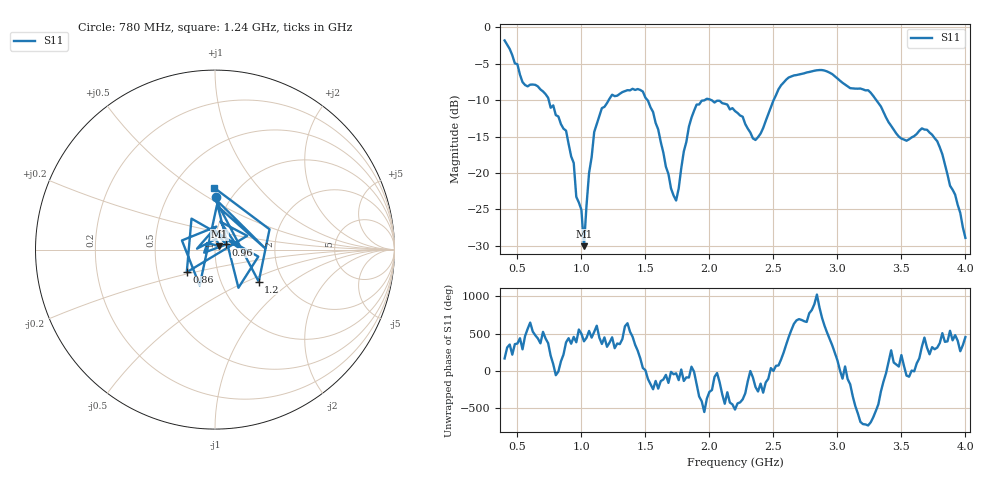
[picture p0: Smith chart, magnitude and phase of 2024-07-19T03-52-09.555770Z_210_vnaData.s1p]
!Created with skrf (http://scikit-rf.org).
# Hz S RI R 50.0
!freq ReS11 ImS11
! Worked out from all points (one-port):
!   181 points, 400 MHz to 4 GHz, reference 50 ohm
!   lowest |S11| = -30.1 dB at 1.02 GHz (marker M1), VSWR 1.06, Z = 52.5 + j2 ohm
!   |S11| at or under -10 dB: 744.9 MHz to 1.213 GHz (468.1 MHz wide, 47.8 % of centre); 2.016 GHz to 2.502 GHz (485.2 MHz wide, 21.5 % of centre); 3.304 GHz to end of sweep (the widest 3 of 4)
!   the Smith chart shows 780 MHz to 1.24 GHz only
!   S11 on the Smith chart (normalised r, x): 780 MHz: 0.85, +0.54; 860 MHz: 0.71, -0.19; 960 MHz: 1.13, +0.06; 1.2 GHz: 1.50, -0.59; 1.24 GHz: 0.78, +0.61
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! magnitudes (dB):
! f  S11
! 400 MHz  -1.8
! 540 MHz  -7.5
! 780 MHz  -10.7
! 860 MHz  -13.9
! 940 MHz  -18.6
! 960 MHz  -23.3
! 1 GHz  -25.1
! 1.02 GHz  -30.1
! 1.06 GHz  -20.0
! 1.1 GHz  -14.4
! 1.2 GHz  -10.4
! 1.24 GHz  -9.2
! 1.3 GHz  -9.1
! 1.48 GHz  -8.8
! 1.56 GHz  -11.6
! 1.72 GHz  -23.1
! 1.76 GHz  -22.1
! 1.84 GHz  -13.6
! 1.9 GHz  -10.6
! 2.2 GHz  -11.5
! 2.36 GHz  -15.5
! 2.54 GHz  -8.5
! 2.66 GHz  -6.6
! 3.1 GHz  -8.3
! 3.24 GHz  -8.6
! 3.56 GHz  -15.4
! 3.78 GHz  -15.6
! 4 GHz  -28.9
